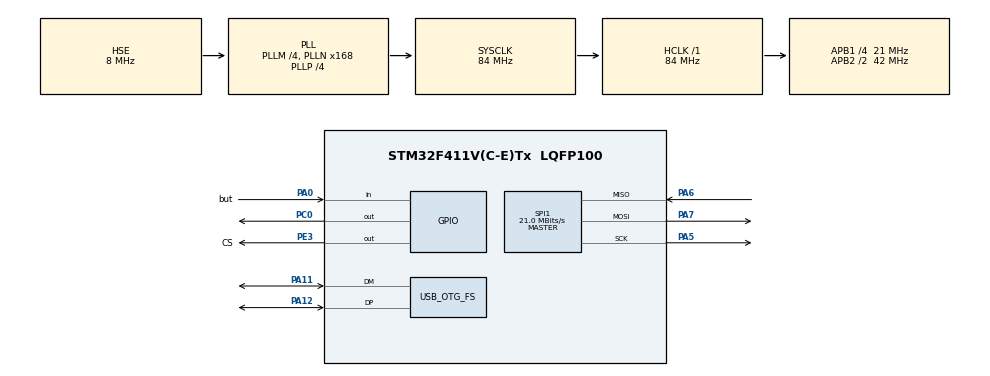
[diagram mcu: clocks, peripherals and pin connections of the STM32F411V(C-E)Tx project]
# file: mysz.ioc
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Mcu.Family=STM32F4
Mcu.Name=STM32F411V(C-E)Tx
Mcu.Package=LQFP100
NVIC.OTG_FS_IRQn=true\:0\:0\:false\:false\:true\:false
NVIC.PriorityGroup=NVIC_PRIORITYGROUP_4
PA0-WKUP.GPIO_Label=but
PA0-WKUP.Signal=GPIO_Input
PA11.Mode=Device_Only
PA11.Signal=USB_OTG_FS_DM
PA12.Mode=Device_Only
PA12.Signal=USB_OTG_FS_DP
PA13.Mode=Serial_Wire
PA13.Signal=SYS_JTMS-SWDIO
PA14.Mode=Serial_Wire
PA14.Signal=SYS_JTCK-SWCLK
PA5.Mode=Full_Duplex_Master
PA5.Signal=SPI1_SCK
PA6.Mode=Full_Duplex_Master
PA6.Signal=SPI1_MISO
PA7.Mode=Full_Duplex_Master
PA7.Signal=SPI1_MOSI
PC0.PinState=GPIO_PIN_SET
PC0.Signal=GPIO_Output
PE3.GPIO_Label=CS
PE3.Signal=GPIO_Output
PH0\ -\ OSC_IN.Mode=HSE-External-Oscillator
PH0\ -\ OSC_IN.Signal=RCC_OSC_IN
PH1\ -\ OSC_OUT.Mode=HSE-External-Oscillator
PH1\ -\ OSC_OUT.Signal=RCC_OSC_OUT
ProjectManager.HeapSize=0x200
ProjectManager.StackSize=0x400
ProjectManager.TargetToolchain=SW4STM32
RCC.48MHZClocksFreq_Value=48000000
RCC.AHBFreq_Value=84000000
RCC.APB1CLKDivider=RCC_HCLK_DIV4
RCC.APB1Freq_Value=21000000
RCC.APB1TimFreq_Value=42000000
RCC.APB2CLKDivider=RCC_HCLK_DIV2
RCC.APB2Freq_Value=42000000
RCC.APB2TimFreq_Value=84000000
RCC.CortexFreq_Value=84000000
RCC.HCLKFreq_Value=84000000
RCC.HSE_VALUE=8000000
RCC.HSI_VALUE=16000000
RCC.LSE_VALUE=32768
RCC.PLLM=4
RCC.PLLN=168
RCC.PLLP=RCC_PLLP_DIV4
RCC.PLLQ=7
RCC.SYSCLKFreq_VALUE=84000000
RCC.SYSCLKSource=RCC_SYSCLKSOURCE_PLLCLK
RCC.VCOOutputFreq_Value=336000000
RCC.VDD_VALUE=3.3
SPI1.CalculateBaudRate=21.0 MBits/s
SPI1.Direction=SPI_DIRECTION_2LINES
SPI1.Mode=SPI_MODE_MASTER
SPI1.VirtualType=VM_MASTER
USB_DEVICE.CLASS_NAME_FS=HID
USB_DEVICE.VirtualMode=Hid
USB_DEVICE.VirtualModeFS=Hid_FS
USB_OTG_FS.VirtualMode=Device_Only
VP_USB_DEVICE_VS_USB_DEVICE_HID_FS.Mode=HID_FS
board=mysz

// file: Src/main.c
/**
  ******************************************************************************
  * @file           : main.c
  * @brief          : Main program body
  ******************************************************************************
  * This notice applies to any and all portions of this file
  * that are not between comment pairs USER CODE BEGIN and
  * USER CODE END. Other portions of this file, whether
  * inserted by the user or by software development tools
  * are owned by their respective copyright owners.
  *
  * Copyright (c) 2018 STMicroelectronics International N.V.
  * All rights reserved.
  *
  * Redistribution and use in source and binary forms, with or without
  * modification, are permitted, provided that the following conditions are met:
  *
  * 1. Redistribution of source code must retain the above copyright notice,
  *    this list of conditions and the following disclaimer.
  * 2. Redistributions in binary form must reproduce the above copyright notice,
  *    this list of conditions and the following disclaimer in the documentation
  *    and/or other materials provided with the distribution.
  * 3. Neither the name of STMicroelectronics nor the names of other
  *    contributors to this software may be used to endorse or promote products
  *    derived from this software without specific written permission.
  * 4. This software, including modifications and/or derivative works of this
  *    software, must execute solely and exclusively on microcontroller or
  *    microprocessor devices manufactured by or for STMicroelectronics.
  * 5. Redistribution and use of this software other than as permitted under
  *    this license is void and will automatically terminate your rights under
  *    this license.
  *
  * THIS SOFTWARE IS PROVIDED BY STMICROELECTRONICS AND CONTRIBUTORS "AS IS"
  * AND ANY EXPRESS, IMPLIED OR STATUTORY WARRANTIES, INCLUDING, BUT NOT
  * LIMITED TO, THE IMPLIED WARRANTIES OF MERCHANTABILITY, FITNESS FOR A
  * PARTICULAR PURPOSE AND NON-INFRINGEMENT OF THIRD PARTY INTELLECTUAL PROPERTY
  * RIGHTS ARE DISCLAIMED TO THE FULLEST EXTENT PERMITTED BY LAW. IN NO EVENT
  * SHALL STMICROELECTRONICS OR CONTRIBUTORS BE LIABLE FOR ANY DIRECT, INDIRECT,
  * INCIDENTAL, SPECIAL, EXEMPLARY, OR CONSEQUENTIAL DAMAGES (INCLUDING, BUT NOT
  * LIMITED TO, PROCUREMENT OF SUBSTITUTE GOODS OR SERVICES; LOSS OF USE, DATA,
  * OR PROFITS; OR BUSINESS INTERRUPTION) HOWEVER CAUSED AND ON ANY THEORY OF
  * LIABILITY, WHETHER IN CONTRACT, STRICT LIABILITY, OR TORT (INCLUDING
  * NEGLIGENCE OR OTHERWISE) ARISING IN ANY WAY OUT OF THE USE OF THIS SOFTWARE,
  * EVEN IF ADVISED OF THE POSSIBILITY OF SUCH DAMAGE.
  *
  ******************************************************************************
  */
#include "main.h"
#include "stm32f4xx_hal.h"
#include "usb_device.h"

/* USER CODE BEGIN Includes */
uint8_t USBD_HID_SendReport     (USBD_HandleTypeDef  *pdev,
                                 uint8_t *report,
                                 uint16_t len);
extern USBD_HandleTypeDef hUsbDeviceFS;

#define SPI1_BASE_ADDRESS    0x40013000
#define SPI1_SR              SPI1_BASE_ADDRESS + 0x08
#define SPI1_DR              SPI1_BASE_ADDRESS + 0x0C
#define ACCESS(address)      *((volatile unsigned int*)(address))

/* USER CODE END Includes */

SPI_HandleTypeDef hspi1;

/* USER CODE BEGIN PV */
/* Private variables ---------------------------------------------------------*/
short xturn, yturn, zturn;
/* USER CODE END PV */

void SystemClock_Config(void);
static void MX_GPIO_Init(void);
static void MX_SPI1_Init(void);

/* USER CODE BEGIN PFP */
/* Private function prototypes -----------------------------------------------*/
uint8_t bufor[4]={0};
void MouseSend(uint8_t* buff, uint8_t click, uint8_t osx ,uint8_t osy) {
	buff[0]=click;
	buff[1]=osx;
	buff[2]=osy;
	buff[3]=0x00;
}
void WaitForSPI1RXReady()
{
	while((ACCESS(SPI1_SR) & 1) == 0 || (ACCESS(SPI1_SR) & (1 << 7)) == 1) { }
}

void WaitForSPI1TXReady()
{
	while((ACCESS(SPI1_SR) & (1 << 1)) == 0 || (ACCESS(SPI1_SR) & (1 << 7)) == 1) { }
}
uint8_t ReadFromGyro(uint8_t gyroRegister)
{
	HAL_GPIO_WritePin(CS_GPIO_Port, CS_Pin, GPIO_PIN_RESET);
	WaitForSPI1TXReady();
	ACCESS(SPI1_DR) = (gyroRegister | 0x80);
	WaitForSPI1RXReady();
	ACCESS(SPI1_DR);
	WaitForSPI1TXReady();
	ACCESS(SPI1_DR) = 0xFF;
	WaitForSPI1RXReady();
	volatile unsigned char readValue = (unsigned char)ACCESS(SPI1_DR);
	HAL_GPIO_WritePin(CS_GPIO_Port, CS_Pin, GPIO_PIN_SET);

	return readValue;
}
void WriteToGyro(uint8_t gyroRegister, uint8_t value)
{
	HAL_GPIO_WritePin(CS_GPIO_Port, CS_Pin, GPIO_PIN_RESET);
	WaitForSPI1TXReady();
	ACCESS(SPI1_DR) = gyroRegister;
	WaitForSPI1RXReady();
	ACCESS(SPI1_DR);
	WaitForSPI1TXReady();
	ACCESS(SPI1_DR) = value;
	WaitForSPI1RXReady();
	ACCESS(SPI1_DR);
	HAL_GPIO_WritePin(CS_GPIO_Port, CS_Pin, GPIO_PIN_SET);
}
short GetAxisValue(uint8_t lowRegister,uint8_t highRegister)
{
	float scaler = 8.75 * 0.0003;
	short temp = (ReadFromGyro(lowRegister) | (ReadFromGyro(highRegister) << 8));
	return (short)((float)temp * scaler);
}

void GetGyroValues(short* x, short* y, short* z)
{
	*x = GetAxisValue(0x28, 0x29);
	*y = GetAxisValue(0x2A, 0x2B);
	*z = GetAxisValue(0x2C, 0x2D);
}
/* USER CODE END PFP */

int main(void)
{

  /* MCU Configuration----------------------------------------------------------*/

  /* Reset of all peripherals, Initializes the Flash interface and the Systick. */
  HAL_Init();

  /* Configure the system clock */
  SystemClock_Config();

  /* Initialize all configured peripherals */
  MX_GPIO_Init();
  MX_USB_DEVICE_Init();
  MX_SPI1_Init();
  /* USER CODE BEGIN 2 */
  __HAL_SPI_ENABLE(&hspi1);
  HAL_GPIO_WritePin(CS_GPIO_Port, CS_Pin, GPIO_PIN_SET);
  WriteToGyro(0x20, 0x0F);
  MX_USB_DEVICE_Init();
  /* USER CODE END 2 */

  /* Infinite loop */
  /* USER CODE BEGIN WHILE */
  while (1)
  {
	  GetGyroValues(&xturn, &yturn, &zturn);
	  if(HAL_GPIO_ReadPin(but_GPIO_Port, but_Pin))
		  MouseSend(bufor, 0x01, -zturn, yturn);
	  else
		  MouseSend(bufor, 0x00, -zturn, yturn);
	  USBD_HID_SendReport (&hUsbDeviceFS, bufor, 4);
	  HAL_Delay(1);
  /* USER CODE END WHILE */

  }

}

void SystemClock_Config(void)
{

  RCC_OscInitTypeDef RCC_OscInitStruct;
  RCC_ClkInitTypeDef RCC_ClkInitStruct;

    /**Configure the main internal regulator output voltage
    */
  __HAL_RCC_PWR_CLK_ENABLE();

  __HAL_PWR_VOLTAGESCALING_CONFIG(PWR_REGULATOR_VOLTAGE_SCALE1);

    /**Initializes the CPU, AHB and APB busses clocks
    */
  RCC_OscInitStruct.OscillatorType = RCC_OSCILLATORTYPE_HSE;
  RCC_OscInitStruct.HSEState = RCC_HSE_ON;
  RCC_OscInitStruct.PLL.PLLState = RCC_PLL_ON;
  RCC_OscInitStruct.PLL.PLLSource = RCC_PLLSOURCE_HSE;
  RCC_OscInitStruct.PLL.PLLM = 4;
  RCC_OscInitStruct.PLL.PLLN = 168;
  RCC_OscInitStruct.PLL.PLLP = RCC_PLLP_DIV4;
  RCC_OscInitStruct.PLL.PLLQ = 7;
  if (HAL_RCC_OscConfig(&RCC_OscInitStruct) != HAL_OK)
  {
    _Error_Handler(__FILE__, __LINE__);
  }

    /**Initializes the CPU, AHB and APB busses clocks
    */
  RCC_ClkInitStruct.ClockType = RCC_CLOCKTYPE_HCLK|RCC_CLOCKTYPE_SYSCLK
                              |RCC_CLOCKTYPE_PCLK1|RCC_CLOCKTYPE_PCLK2;
  RCC_ClkInitStruct.SYSCLKSource = RCC_SYSCLKSOURCE_PLLCLK;
  RCC_ClkInitStruct.AHBCLKDivider = RCC_SYSCLK_DIV1;
  RCC_ClkInitStruct.APB1CLKDivider = RCC_HCLK_DIV4;
  RCC_ClkInitStruct.APB2CLKDivider = RCC_HCLK_DIV2;

  if (HAL_RCC_ClockConfig(&RCC_ClkInitStruct, FLASH_LATENCY_2) != HAL_OK)
  {
    _Error_Handler(__FILE__, __LINE__);
  }

    /**Configure the Systick interrupt time
    */
  HAL_SYSTICK_Config(HAL_RCC_GetHCLKFreq()/1000);

    /**Configure the Systick
    */
  HAL_SYSTICK_CLKSourceConfig(SYSTICK_CLKSOURCE_HCLK);

  /* SysTick_IRQn interrupt configuration */
  HAL_NVIC_SetPriority(SysTick_IRQn, 0, 0);
}

/* SPI1 init function */
static void MX_SPI1_Init(void)
{

  /* SPI1 parameter configuration*/
  hspi1.Instance = SPI1;
  hspi1.Init.Mode = SPI_MODE_MASTER;
  hspi1.Init.Direction = SPI_DIRECTION_2LINES;
  hspi1.Init.DataSize = SPI_DATASIZE_8BIT;
  hspi1.Init.CLKPolarity = SPI_POLARITY_LOW;
  hspi1.Init.CLKPhase = SPI_PHASE_1EDGE;
  hspi1.Init.NSS = SPI_NSS_SOFT;
  hspi1.Init.BaudRatePrescaler = SPI_BAUDRATEPRESCALER_2;
  hspi1.Init.FirstBit = SPI_FIRSTBIT_MSB;
  hspi1.Init.TIMode = SPI_TIMODE_DISABLE;
  hspi1.Init.CRCCalculation = SPI_CRCCALCULATION_DISABLE;
  hspi1.Init.CRCPolynomial = 10;
  if (HAL_SPI_Init(&hspi1) != HAL_OK)
  {
    _Error_Handler(__FILE__, __LINE__);
  }

}

/** Configure pins as
        * Analog
        * Input
        * Output
        * EVENT_OUT
        * EXTI
*/
static void MX_GPIO_Init(void)
{

  GPIO_InitTypeDef GPIO_InitStruct;

  /* GPIO Ports Clock Enable */
  __HAL_RCC_GPIOE_CLK_ENABLE();
  __HAL_RCC_GPIOH_CLK_ENABLE();
  __HAL_RCC_GPIOC_CLK_ENABLE();
  __HAL_RCC_GPIOA_CLK_ENABLE();

  /*Configure GPIO pin Output Level */
  HAL_GPIO_WritePin(CS_GPIO_Port, CS_Pin, GPIO_PIN_RESET);

  /*Configure GPIO pin Output Level */
  HAL_GPIO_WritePin(GPIOC, GPIO_PIN_0, GPIO_PIN_SET);

  /*Configure GPIO pin : CS_Pin */
  GPIO_InitStruct.Pin = CS_Pin;
  GPIO_InitStruct.Mode = GPIO_MODE_OUTPUT_PP;
  GPIO_InitStruct.Pull = GPIO_NOPULL;
  GPIO_InitStruct.Speed = GPIO_SPEED_FREQ_LOW;
  HAL_GPIO_Init(CS_GPIO_Port, &GPIO_InitStruct);

  /*Configure GPIO pin : PC0 */
  GPIO_InitStruct.Pin = GPIO_PIN_0;
  GPIO_InitStruct.Mode = GPIO_MODE_OUTPUT_PP;
  GPIO_InitStruct.Pull = GPIO_NOPULL;
  GPIO_InitStruct.Speed = GPIO_SPEED_FREQ_LOW;
  HAL_GPIO_Init(GPIOC, &GPIO_InitStruct);

  /*Configure GPIO pin : but_Pin */
  GPIO_InitStruct.Pin = but_Pin;
  GPIO_InitStruct.Mode = GPIO_MODE_INPUT;
  GPIO_InitStruct.Pull = GPIO_NOPULL;
  HAL_GPIO_Init(but_GPIO_Port, &GPIO_InitStruct);

}

void _Error_Handler(char *file, int line)
{
  while(1)
  {
  }
}

/************************ (C) COPYRIGHT STMicroelectronics *****END OF FILE****/
